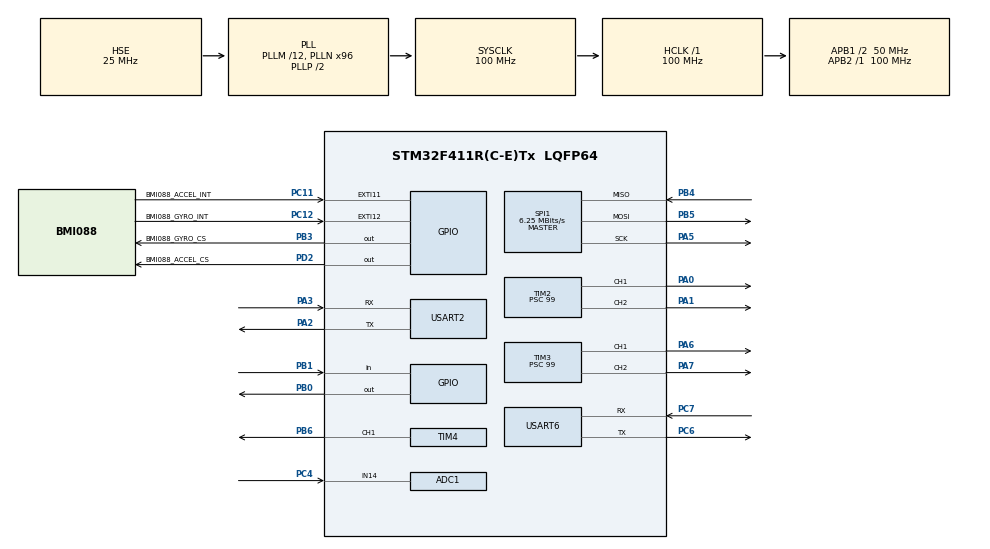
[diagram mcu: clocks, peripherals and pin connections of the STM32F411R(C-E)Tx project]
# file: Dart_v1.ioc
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ADC1.Channel-0\#ChannelRegularConversion=ADC_CHANNEL_14
ADC1.ClockPrescaler=ADC_CLOCK_SYNC_PCLK_DIV8
ADC1.NbrOfConversionFlag=1
ADC1.Rank-0\#ChannelRegularConversion=1
ADC1.SamplingTime-0\#ChannelRegularConversion=ADC_SAMPLETIME_480CYCLES
ADC1.master=1
Mcu.Family=STM32F4
Mcu.Name=STM32F411R(C-E)Tx
Mcu.Package=LQFP64
NVIC.EXTI15_10_IRQn=true\:0\:0\:false\:false\:true\:true\:true\:true
NVIC.PriorityGroup=NVIC_PRIORITYGROUP_4
NVIC.USART2_IRQn=true\:2\:0\:true\:false\:true\:true\:true\:true
NVIC.USART6_IRQn=true\:0\:0\:false\:false\:true\:true\:true\:true
PA0-WKUP.Signal=S_TIM2_CH1_ETR
PA1.Signal=S_TIM2_CH2
PA13.Mode=Serial_Wire
PA13.Signal=SYS_JTMS-SWDIO
PA14.Mode=Serial_Wire
PA14.Signal=SYS_JTCK-SWCLK
PA2.Mode=Asynchronous
PA2.Signal=USART2_TX
PA3.Mode=Asynchronous
PA3.Signal=USART2_RX
PA5.Mode=Full_Duplex_Master
PA5.Signal=SPI1_SCK
PA6.Signal=S_TIM3_CH1
PA7.Signal=S_TIM3_CH2
PB0.Signal=GPIO_Output
PB1.Signal=GPIO_Input
PB3.GPIO_Label=BMI088_GYRO_CS
PB3.GPIO_Speed=GPIO_SPEED_FREQ_VERY_HIGH
PB3.PinState=GPIO_PIN_SET
PB3.Signal=GPIO_Output
PB4.Mode=Full_Duplex_Master
PB4.Signal=SPI1_MISO
PB5.Mode=Full_Duplex_Master
PB5.Signal=SPI1_MOSI
PB6.Signal=S_TIM4_CH1
PC11.GPIO_Label=BMI088_ACCEL_INT
PC11.Signal=GPXTI11
PC12.GPIO_Label=BMI088_GYRO_INT
PC12.Signal=GPXTI12
PC4.Signal=ADCx_IN14
PC6.Mode=Asynchronous
PC6.Signal=USART6_TX
PC7.Mode=Asynchronous
PC7.Signal=USART6_RX
PD2.GPIO_Label=BMI088_ACCEL_CS
PD2.GPIO_Speed=GPIO_SPEED_FREQ_VERY_HIGH
PD2.PinState=GPIO_PIN_SET
PD2.Signal=GPIO_Output
PH0\ -\ OSC_IN.Mode=HSE-External-Oscillator
PH0\ -\ OSC_IN.Signal=RCC_OSC_IN
PH1\ -\ OSC_OUT.Mode=HSE-External-Oscillator
PH1\ -\ OSC_OUT.Signal=RCC_OSC_OUT
ProjectManager.HeapSize=0x200
ProjectManager.StackSize=0x400
ProjectManager.TargetToolchain=MDK-ARM V5.32
RCC.48MHZClocksFreq_Value=50000000
RCC.AHBFreq_Value=100000000
RCC.APB1CLKDivider=RCC_HCLK_DIV2
RCC.APB1Freq_Value=50000000
RCC.APB1TimFreq_Value=100000000
RCC.APB2Freq_Value=100000000
RCC.APB2TimFreq_Value=100000000
RCC.CortexFreq_Value=100000000
RCC.HCLKFreq_Value=100000000
RCC.HSE_VALUE=25000000
RCC.HSI_VALUE=16000000
RCC.LSE_VALUE=32768
RCC.PLLM=12
RCC.PLLN=96
RCC.PLLSourceVirtual=RCC_PLLSOURCE_HSE
RCC.SYSCLKFreq_VALUE=100000000
RCC.SYSCLKSource=RCC_SYSCLKSOURCE_PLLCLK
RCC.VCOOutputFreq_Value=200000000
SH.ADCx_IN14.0=ADC1_IN14,IN14
SH.S_TIM2_CH1_ETR.0=TIM2_CH1,PWM Generation1 CH1
SH.S_TIM2_CH2.0=TIM2_CH2,PWM Generation2 CH2
SH.S_TIM3_CH1.0=TIM3_CH1,PWM Generation1 CH1
SH.S_TIM3_CH2.0=TIM3_CH2,PWM Generation2 CH2
SH.S_TIM4_CH1.0=TIM4_CH1,PWM Generation1 CH1
SPI1.BaudRatePrescaler=SPI_BAUDRATEPRESCALER_16
SPI1.CLKPhase=SPI_PHASE_2EDGE
SPI1.CLKPolarity=SPI_POLARITY_HIGH
SPI1.CalculateBaudRate=6.25 MBits/s
SPI1.Direction=SPI_DIRECTION_2LINES
SPI1.Mode=SPI_MODE_MASTER
SPI1.VirtualType=VM_MASTER
TIM2.Channel-PWM\ Generation1\ CH1=TIM_CHANNEL_1
TIM2.Channel-PWM\ Generation2\ CH2=TIM_CHANNEL_2
TIM2.Period=19999
TIM2.Prescaler=99
TIM3.Channel-PWM\ Generation1\ CH1=TIM_CHANNEL_1
TIM3.Channel-PWM\ Generation2\ CH2=TIM_CHANNEL_2
TIM3.Period=19999
TIM3.Prescaler=99
TIM4.Channel-PWM\ Generation1\ CH1=TIM_CHANNEL_1
TIM4.Period=249
TIM4.Prescaler=99
TIM4.Pulse-PWM\ Generation1\ CH1=125
USART2.VirtualMode=VM_ASYNC
USART6.VirtualMode=VM_ASYNC
VP_TIM2_VS_ClockSourceINT.Mode=Internal
VP_TIM3_VS_ClockSourceINT.Mode=Internal
VP_TIM4_VS_ClockSourceINT.Mode=Internal
board=custom

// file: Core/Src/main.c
/* USER CODE BEGIN Header */
/**
  ******************************************************************************
  * @file           : main.c
  * @brief          : Main program body
  ******************************************************************************
  * @attention
  *
  * Copyright (c) 2026 STMicroelectronics.
  * All rights reserved.
  *
  * This software is licensed under terms that can be found in the LICENSE file
  * in the root directory of this software component.
  * If no LICENSE file comes with this software, it is provided AS-IS.
  *
  ******************************************************************************
  */
/* USER CODE END Header */
#include "main.h"
#include "adc.h"
#include "spi.h"
#include "tim.h"
#include "usart.h"
#include "gpio.h"

/* USER CODE BEGIN Includes */
#include "imu_task.h"
#include "openmv_task.h"
#include <stdio.h>
#include <string.h>
/* USER CODE END Includes */

/* USER CODE BEGIN PTD */
typedef enum
{
  POWER_WAIT_START_RELEASE,
  POWER_WAIT_PRESS,
  POWER_TIMING_HOLD,
  POWER_WAIT_RELEASE,
  POWER_TIMING_RELEASE
} PowerButtonState;
typedef enum
{
  FLIGHT_IDLE, FLIGHT_WAIT_LAUNCH, FLIGHT_ASCENDING, FLIGHT_LANDING,
  FLIGHT_IMU_ERROR
} FlightState;
/* USER CODE END PTD */

/* USER CODE BEGIN PD */
#define RXBUFFERSIZE 32U
/* Existing endpoint commands used these values; verify actual servo and linkage
   before energizing. Never widen this envelope without hardware validation. */
#define SERVO_MIN_PULSE_US 1000U
#define SERVO_MAX_PULSE_US 2000U
#define SERVO_DEFAULT_PULSE_US 1620U
#define SERVO_1_TAKEOFF_PULSE_US 1620U
#define SERVO_2_TAKEOFF_PULSE_US 1620U
#define SERVO_3_TAKEOFF_PULSE_US 1620U
#define SERVO_4_TAKEOFF_PULSE_US 1620U
#define SERVO_1_LANDING_PULSE_US 1620U
#define SERVO_2_LANDING_PULSE_US 1620U
#define SERVO_3_LANDING_PULSE_US 1620U
#define SERVO_4_LANDING_PULSE_US 1620U
#define SERVO_PWM_PERIOD_US 20000U
#define FLIGHT_AUTO_ARM_MS 10000U
#define ARM_BEEP_LENGTH_MS 150U
#define ARM_BEEP_INTERVAL_MS 300U
#define ARM_BEEP_TOTAL_MS (ARM_BEEP_INTERVAL_MS + ARM_BEEP_LENGTH_MS)
#if (SERVO_DEFAULT_PULSE_US < SERVO_MIN_PULSE_US) || (SERVO_DEFAULT_PULSE_US > SERVO_MAX_PULSE_US) || \
    (SERVO_1_TAKEOFF_PULSE_US < SERVO_MIN_PULSE_US) || (SERVO_1_TAKEOFF_PULSE_US > SERVO_MAX_PULSE_US) || \
    (SERVO_2_TAKEOFF_PULSE_US < SERVO_MIN_PULSE_US) || (SERVO_2_TAKEOFF_PULSE_US > SERVO_MAX_PULSE_US) || \
    (SERVO_3_TAKEOFF_PULSE_US < SERVO_MIN_PULSE_US) || (SERVO_3_TAKEOFF_PULSE_US > SERVO_MAX_PULSE_US) || \
    (SERVO_4_TAKEOFF_PULSE_US < SERVO_MIN_PULSE_US) || (SERVO_4_TAKEOFF_PULSE_US > SERVO_MAX_PULSE_US) || \
    (SERVO_1_LANDING_PULSE_US < SERVO_MIN_PULSE_US) || (SERVO_1_LANDING_PULSE_US > SERVO_MAX_PULSE_US) || \
    (SERVO_2_LANDING_PULSE_US < SERVO_MIN_PULSE_US) || (SERVO_2_LANDING_PULSE_US > SERVO_MAX_PULSE_US) || \
    (SERVO_3_LANDING_PULSE_US < SERVO_MIN_PULSE_US) || (SERVO_3_LANDING_PULSE_US > SERVO_MAX_PULSE_US) || \
    (SERVO_4_LANDING_PULSE_US < SERVO_MIN_PULSE_US) || (SERVO_4_LANDING_PULSE_US > SERVO_MAX_PULSE_US)
#error "Servo preset pulse is outside the configured envelope"
#endif
/* Launch gate: tune acceleration magnitude and continuous time separately. */
#define FLIGHT_LAUNCH_ACCEL_MPS2 13.0f
#define FLIGHT_LAUNCH_CONFIRM_MS 6U
/* Consecutive positive roll updates required after a negative-to-positive crossing. */
#define FLIGHT_ROLL_POSITIVE_SAMPLES 5U
#define FLIGHT_BEEP_MS 3000U
#define FLIGHT_LANDING_HOLD_MS 5000U
#define BATTERY_ADC_SAMPLE_COUNT 4U
#define BATTERY_ADC_FULL_SCALE 4095U
#define BATTERY_ADC_REFERENCE_MV 3300U
#define BATTERY_DIVIDER_RATIO 4U
#define BUZZER_LOW_PULSE 10U
#define BUZZER_MEDIUM_PULSE 20U
#define BUZZER_HIGH_PULSE 40U
#define POWER_OFF_HOLD_MS 1000U
#define POWER_OFF_RELEASE_MS 1000U
#define POWER_RELEASE_BEEP_MS 100U
#define EFFECT_BEEP_LENGTH_MS 180U
#define EFFECT_BEEP_INTERVAL_MS 300U
#define EFFECT_LENGTH_MS ((2U * EFFECT_BEEP_INTERVAL_MS) + EFFECT_BEEP_LENGTH_MS)
#define UART_TX_BUFFER_SIZE 256U
#define IMU_DEBUG_PERIOD_MS 200U
/* USER CODE END PD */

/* USER CODE BEGIN PV */
static char RxBuffer[RXBUFFERSIZE];
static char command_buffer[RXBUFFERSIZE];
static uint8_t aRxBuffer;
static uint8_t Uart2_Rx_Cnt;
static volatile uint8_t command_ready;
static volatile uint8_t rx_discard;
static uint32_t takeoff_pulse[4] = { SERVO_1_TAKEOFF_PULSE_US, SERVO_2_TAKEOFF_PULSE_US,
                                     SERVO_3_TAKEOFF_PULSE_US, SERVO_4_TAKEOFF_PULSE_US };
static uint32_t landing_pulse[4] = { SERVO_1_LANDING_PULSE_US, SERVO_2_LANDING_PULSE_US,
                                     SERVO_3_LANDING_PULSE_US, SERVO_4_LANDING_PULSE_US };
static FlightState flight_state;
static uint32_t launch_tick;
static uint32_t launch_candidate_tick;
static uint32_t apex_tick;
static uint32_t flight_last_update;
static uint8_t launch_candidate;
static uint8_t roll_was_negative;
static uint8_t roll_positive_count;
static uint8_t apex_event;
static uint8_t servo_output_active = 1U;
static uint8_t battery_report_pending;
static PowerButtonState power_button_state;
static uint32_t power_button_tick;
static uint32_t power_beep_tick;
static uint32_t startup_effect_tick;
static uint8_t startup_effect_active;
static uint32_t boot_tick;
static uint32_t arm_beep_tick;
static uint8_t arm_beep_active;
static uint8_t uart_tx_buffer[UART_TX_BUFFER_SIZE];
static volatile uint8_t uart_tx_busy;
static volatile uint8_t uart_overflow_pending;
static uint32_t uart_tx_drop_count;
static uint32_t imu_debug_tick;
static uint32_t openmv_reported_target_count;
static OpenMV_State openmv_reported_state;
static OpenMV_Error openmv_reported_error;
static const uint8_t uart_reply[] = "ok\r\n";
static const uint8_t uart_error[] = "error\r\n";
/* USER CODE END PV */

void SystemClock_Config(void);
/* USER CODE BEGIN PFP */
static void SetServoPulse(uint8_t index, uint32_t pulse);
static uint8_t ReadBatteryVoltage(uint32_t *voltage_mv);
static void BatteryReportTask(void);
static void HandleFlightCommand(void);
static void FlightTask(uint32_t now);
static uint8_t ArmFlight(uint32_t now);
static void AutoArmTask(uint32_t now);
static uint32_t GetThreeBeepPulse(uint32_t elapsed, uint8_t increasing);
static void UpdateBuzzer(uint32_t now);
static void HandlePowerButton(void);
static uint8_t QueueUartData(const uint8_t *data, uint16_t length);
static void IMUDebugOutputTask(uint32_t now);
static void OpenMVDebugOutputTask(void);
/* USER CODE END PFP */

/* USER CODE BEGIN 0 */
static void SetServoPulse(uint8_t index, uint32_t pulse)
{
  switch (index)
  {
    case 0U: __HAL_TIM_SET_COMPARE(&htim2, TIM_CHANNEL_1, pulse); break;
    case 1U: __HAL_TIM_SET_COMPARE(&htim2, TIM_CHANNEL_2, pulse); break;
    case 2U: __HAL_TIM_SET_COMPARE(&htim3, TIM_CHANNEL_1, pulse); break;
    case 3U: __HAL_TIM_SET_COMPARE(&htim3, TIM_CHANNEL_2, pulse); break;
    default: break;
  }
}

static uint8_t ReadBatteryVoltage(uint32_t *voltage_mv)
{
  uint32_t sum = 0U;
  uint32_t i;

  if (voltage_mv == NULL) return 0U;
  for (i = 0U; i < BATTERY_ADC_SAMPLE_COUNT; i++)
  {
    if (HAL_ADC_Start(&hadc1) != HAL_OK)
    {
      (void)HAL_ADC_Stop(&hadc1);
      return 0U;
    }
    if (HAL_ADC_PollForConversion(&hadc1, 1U) != HAL_OK)
    {
      (void)HAL_ADC_Stop(&hadc1);
      return 0U;
    }
    sum += HAL_ADC_GetValue(&hadc1);
    if (HAL_ADC_Stop(&hadc1) != HAL_OK) return 0U;
  }
  *voltage_mv = (((sum / BATTERY_ADC_SAMPLE_COUNT) *
                  BATTERY_ADC_REFERENCE_MV * BATTERY_DIVIDER_RATIO) +
                 (BATTERY_ADC_FULL_SCALE / 2U)) / BATTERY_ADC_FULL_SCALE;
  return 1U;
}

static void BatteryReportTask(void)
{
  char message[UART_TX_BUFFER_SIZE];
  uint32_t voltage_mv;
  int length;

  if ((battery_report_pending == 0U) || (uart_tx_busy != 0U)) return;
  if (ReadBatteryVoltage(&voltage_mv) != 0U)
  {
    length = snprintf(message, sizeof(message), "Battery:%lu.%02luV\r\n",
                      (unsigned long)(voltage_mv / 1000U),
                      (unsigned long)((voltage_mv % 1000U) / 10U));
  }
  else length = snprintf(message, sizeof(message), "Battery ADC error\r\n");
  if ((length > 0) && ((uint32_t)length < sizeof(message)) &&
      (QueueUartData((const uint8_t *)message, (uint16_t)length) != 0U))
    battery_report_pending = 0U;
}

static uint32_t GetThreeBeepPulse(uint32_t elapsed, uint8_t increasing)
{
  static const uint32_t increasing_pulses[3] =
  {
    BUZZER_LOW_PULSE, BUZZER_MEDIUM_PULSE, BUZZER_HIGH_PULSE
  };
  static const uint32_t decreasing_pulses[3] =
  {
    BUZZER_HIGH_PULSE, BUZZER_MEDIUM_PULSE, BUZZER_LOW_PULSE
  };
  uint32_t beep_index = elapsed / EFFECT_BEEP_INTERVAL_MS;

  if ((beep_index >= 3U) ||
      ((elapsed % EFFECT_BEEP_INTERVAL_MS) >= EFFECT_BEEP_LENGTH_MS))
  {
    return 0U;
  }

  return increasing ? increasing_pulses[beep_index]
                    : decreasing_pulses[beep_index];
}

static void UpdateBuzzer(uint32_t now)
{
  uint32_t pulse;

  if ((apex_event != 0U) && ((uint32_t)(now - apex_tick) < FLIGHT_BEEP_MS))
  {
    pulse = BUZZER_HIGH_PULSE;
  }
  else if (power_button_state == POWER_WAIT_RELEASE)
  {
    pulse = ((uint32_t)(now - power_beep_tick) < POWER_RELEASE_BEEP_MS)
              ? BUZZER_HIGH_PULSE : 0U;
  }
  else if (power_button_state == POWER_TIMING_RELEASE)
  {
    pulse = GetThreeBeepPulse((uint32_t)(now - power_button_tick), 0U);
  }
  else if (arm_beep_active != 0U)
  {
    uint32_t elapsed = (uint32_t)(now - arm_beep_tick);
    if (elapsed < ARM_BEEP_TOTAL_MS)
    {
      pulse = ((elapsed < ARM_BEEP_LENGTH_MS) ||
               ((elapsed >= ARM_BEEP_INTERVAL_MS) &&
                (elapsed < ARM_BEEP_TOTAL_MS))) ? BUZZER_HIGH_PULSE : 0U;
    }
    else
    {
      arm_beep_active = 0U;
      pulse = 0U;
    }
  }
  else if (startup_effect_active != 0U)
  {
    uint32_t elapsed = (uint32_t)(now - startup_effect_tick);

    if (elapsed < EFFECT_LENGTH_MS)
    {
      pulse = GetThreeBeepPulse(elapsed, 1U);
    }
    else
    {
      startup_effect_active = 0U;
      pulse = 0U;
    }
  }
  else
  {
    pulse = 0U;
  }

  __HAL_TIM_SET_COMPARE(&htim4, TIM_CHANNEL_1, pulse);
}

static void HandlePowerButton(void)
{
  GPIO_PinState button = HAL_GPIO_ReadPin(GPIOB, GPIO_PIN_1);
  uint32_t now = HAL_GetTick();

  switch (power_button_state)
  {
    case POWER_WAIT_START_RELEASE:
      if (button == GPIO_PIN_RESET)
      {
        power_button_state = POWER_WAIT_PRESS;
      }
      break;

    case POWER_WAIT_PRESS:
      if (button == GPIO_PIN_SET)
      {
        power_button_tick = now;
        power_button_state = POWER_TIMING_HOLD;
      }
      break;

    case POWER_TIMING_HOLD:
      if (button == GPIO_PIN_RESET)
      {
        power_button_state = POWER_WAIT_PRESS;
      }
      else if ((uint32_t)(now - power_button_tick) >= POWER_OFF_HOLD_MS)
      {
        power_beep_tick = now;
        power_button_state = POWER_WAIT_RELEASE;
      }
      break;

    case POWER_WAIT_RELEASE:
      if (button == GPIO_PIN_RESET)
      {
        power_button_tick = now;
        power_button_state = POWER_TIMING_RELEASE;
      }
      break;

    case POWER_TIMING_RELEASE:
      if (button == GPIO_PIN_SET)
      {
        power_button_state = POWER_WAIT_RELEASE;
      }
      else if ((uint32_t)(now - power_button_tick) >= POWER_OFF_RELEASE_MS)
      {
        __HAL_TIM_SET_COMPARE(&htim4, TIM_CHANNEL_1, 0U);
        HAL_GPIO_WritePin(GPIOB, GPIO_PIN_0, GPIO_PIN_SET);
        while (1)
        {
          /* Keep the power-off request asserted until the supply is removed. */
        }
      }
      break;

    default:
      power_button_state = POWER_WAIT_START_RELEASE;
      break;
  }
}

static uint8_t QueueUartData(const uint8_t *data, uint16_t length)
{
  HAL_StatusTypeDef result;

  if ((data == NULL) || (length == 0U) || (length > UART_TX_BUFFER_SIZE))
  {
    return 0U;
  }

  __disable_irq();
  if (uart_tx_busy != 0U)
  {
    __enable_irq();
    uart_tx_drop_count++;
    return 0U;
  }
  memcpy(uart_tx_buffer, data, length);
  uart_tx_busy = 1U;
  result = HAL_UART_Transmit_IT(&huart2, uart_tx_buffer, length);
  if (result != HAL_OK)
  {
    uart_tx_busy = 0U;
  }
  __enable_irq();
  return (result == HAL_OK) ? 1U : 0U;
}

static uint8_t ArmFlight(uint32_t now)
{
  const IMU_Status *status = IMU_GetStatus();
  uint8_t i;

  if ((flight_state == FLIGHT_ASCENDING) ||
      (status->state != IMU_STATE_RUNNING) ||
      ((apex_event != 0U) &&
       ((uint32_t)(now - apex_tick) < FLIGHT_LANDING_HOLD_MS))) return 0U;

  for (i = 0U; i < 4U; i++) SetServoPulse(i, takeoff_pulse[i]);
  servo_output_active = 1U;
  flight_state = FLIGHT_WAIT_LAUNCH;
  launch_candidate = 0U;
  roll_was_negative = 0U;
  roll_positive_count = 0U;
  apex_event = 0U;
  flight_last_update = status->attitude_update_count;
  return 1U;
}

static void AutoArmTask(uint32_t now)
{
  if ((flight_state != FLIGHT_IDLE) ||
      ((uint32_t)(now - boot_tick) < FLIGHT_AUTO_ARM_MS) ||
      (IMU_GetStatus()->state != IMU_STATE_RUNNING)) return;

  if (ArmFlight(now) != 0U)
  {
    startup_effect_active = 0U;
    arm_beep_tick = now;
    arm_beep_active = 1U;
  }
}

static void HandleFlightCommand(void)
{
  char line[RXBUFFERSIZE];
  uint8_t length;
  uint8_t number;
  uint8_t index;
  uint32_t pulse = 0U;
  uint8_t valid = 1U;
  uint8_t i;
  uint8_t digits = 0U;

  if (command_ready == 0U)
  {
    return;
  }
  __disable_irq();
  length = command_ready;
  memcpy(line, command_buffer, length);
  command_ready = 0U;
  __enable_irq();
  line[length] = '\0';
  if ((length == 1U) && (line[0] == '0'))
  {
    battery_report_pending = 1U;
    return;
  }
  if ((length == 1U) && (line[0] == '5'))
  {
    valid = ArmFlight(HAL_GetTick());
  }
  else if ((length >= 6U) && (line[0] >= '1') && (line[0] <= '9') &&
           (line[1] == ' '))
  {
    number = (uint8_t)(line[0] - '0');
    valid = ((number >= 1U && number <= 4U) ||
             (number >= 6U && number <= 9U)) ? 1U : 0U;
    for (i = 2U; i < length; i++)
    {
      if ((line[i] < '0') || (line[i] > '9') || (pulse > SERVO_PWM_PERIOD_US))
      {
        valid = 0U;
        break;
      }
      pulse = pulse * 10U + (uint32_t)(line[i] - '0');
      digits++;
    }
    if ((digits == 0U) ||
        (pulse < SERVO_MIN_PULSE_US) || (pulse > SERVO_MAX_PULSE_US) ||
        (pulse >= SERVO_PWM_PERIOD_US)) valid = 0U;
    if (valid != 0U)
    {
      index = (number <= 4U) ? (uint8_t)(number - 1U) : (uint8_t)(number - 6U);
      if (number <= 4U)
      {
        /* Landing is latched: never silently override its output. */
        if ((flight_state == FLIGHT_LANDING) ||
            (flight_state == FLIGHT_ASCENDING)) valid = 0U;
        else
        {
          takeoff_pulse[index] = pulse;
          SetServoPulse(index, pulse);
          servo_output_active = 1U;
        }
      }
      else if ((flight_state == FLIGHT_WAIT_LAUNCH) ||
               (flight_state == FLIGHT_ASCENDING)) valid = 0U;
      else
      {
        landing_pulse[index] = pulse;
      }
    }
  }
  else valid = 0U;
  (void)QueueUartData(valid ? uart_reply : uart_error,
                      valid ? (sizeof(uart_reply) - 1U) : (sizeof(uart_error) - 1U));
}

static void FlightTask(uint32_t now)
{
  const IMU_Status *imu = IMU_GetStatus();
  uint8_t i;
  if ((flight_state == FLIGHT_LANDING) && (servo_output_active != 0U) &&
      ((uint32_t)(now - apex_tick) >= FLIGHT_LANDING_HOLD_MS))
  {
    for (i = 0U; i < 4U; i++) SetServoPulse(i, 0U);
    servo_output_active = 0U;
  }
  if ((flight_state == FLIGHT_WAIT_LAUNCH) || (flight_state == FLIGHT_ASCENDING))
  {
    if (imu->state != IMU_STATE_RUNNING)
    {
      flight_state = FLIGHT_IMU_ERROR;
      return;
    }
    if (imu->attitude_update_count == flight_last_update) return;
    flight_last_update = imu->attitude_update_count;
    if (flight_state == FLIGHT_WAIT_LAUNCH)
    {
      if (imu->accel_norm_mps2 >= FLIGHT_LAUNCH_ACCEL_MPS2)
      {
        if (launch_candidate == 0U)
        {
          launch_candidate_tick = now;
          launch_candidate = 1U;
        }
        else if ((uint32_t)(now - launch_candidate_tick) >= FLIGHT_LAUNCH_CONFIRM_MS)
        {
          launch_tick = now;
          launch_candidate = 0U;
          roll_was_negative = 0U;
          roll_positive_count = 0U;
          flight_state = FLIGHT_ASCENDING;
        }
      }
      else launch_candidate = 0U;
    }
    else
    {
      /* Only post-launch attitude updates count. Zero breaks a positive run;
         a later negative sample allows another crossing attempt. */
      if (imu->roll_deg < 0.0f)
      {
        roll_was_negative = 1U;
        roll_positive_count = 0U;
      }
      else if (imu->roll_deg > 0.0f)
      {
        if (roll_was_negative != 0U)
        {
          roll_positive_count++;
          if (roll_positive_count >= FLIGHT_ROLL_POSITIVE_SAMPLES)
          {
            flight_state = FLIGHT_LANDING;
            apex_event = 1U;
            apex_tick = now;
            for (i = 0U; i < 4U; i++) SetServoPulse(i, landing_pulse[i]);
            __HAL_TIM_SET_COMPARE(&htim4, TIM_CHANNEL_1, BUZZER_HIGH_PULSE);
          }
        }
      }
      else
      {
        roll_was_negative = 0U;
        roll_positive_count = 0U;
      }
    }
  }
}

static void IMUDebugOutputTask(uint32_t now)
{
  const IMU_Status *status;
  char message[UART_TX_BUFFER_SIZE];
  int length;
  int32_t roll;
  int32_t pitch;
  int32_t yaw;

  if ((uint32_t)(now - imu_debug_tick) < IMU_DEBUG_PERIOD_MS)
  {
    return;
  }
  imu_debug_tick = now;
  status = IMU_GetStatus();
  roll = (int32_t)(status->roll_deg * 10.0f);
  pitch = (int32_t)(status->pitch_deg * 10.0f);
  yaw = (int32_t)(status->yaw_deg * 10.0f);
  /* R/P/Y remain in tenths of a degree for existing parsers; X/Y/Z are
     the same Euler angles (roll/pitch/yaw) formatted in degrees. */
  length = snprintf(message, sizeof(message),
                     "ms:%lu F:%u I:%u e:%u R:%ld P:%ld Y:%ld Xdeg:%s%ld.%01ld Ydeg:%s%ld.%01ld Zdeg:%s%ld.%01ld A:%lu G:%lu C:%u T:%lu V:%u B:%u S:%u U:%lu O:%lu E:%lu\r\n",
                     (unsigned long)now, (unsigned int)flight_state, (unsigned int)status->state,
                     (unsigned int)status->error, (long)roll, (long)pitch, (long)yaw,
                     (roll < 0) ? "-" : "", (long)((roll < 0) ? -roll : roll) / 10L,
                     (long)((roll < 0) ? -roll : roll) % 10L,
                     (pitch < 0) ? "-" : "", (long)((pitch < 0) ? -pitch : pitch) / 10L,
                     (long)((pitch < 0) ? -pitch : pitch) % 10L,
                     (yaw < 0) ? "-" : "", (long)((yaw < 0) ? -yaw : yaw) / 10L,
                     (long)((yaw < 0) ? -yaw : yaw) % 10L,
                     (unsigned long)(status->accel_norm_mps2 * 100.0f),
                     (unsigned long)(status->gyro_norm_rps * 100.0f),
                     (unsigned int)launch_candidate,
                     (unsigned long)((flight_state == FLIGHT_ASCENDING) ? (now - launch_tick) : 0U),
                     (unsigned int)apex_event,
                     (unsigned int)(apex_event && ((uint32_t)(now - apex_tick) < FLIGHT_BEEP_MS)),
                     (unsigned int)servo_output_active,
                     (unsigned long)status->attitude_update_count,
                     (unsigned long)status->gyro_overrun_count,
                     (unsigned long)status->spi_error_count);
  if ((length > 0) && ((uint32_t)length < sizeof(message)))
  {
    (void)QueueUartData((const uint8_t *)message, (uint16_t)length);
  }
}

static void OpenMVDebugOutputTask(void)
{
  const OpenMV_Status *status = OpenMV_GetStatus();
  char message[UART_TX_BUFFER_SIZE];
  int length = 0;

  if (status->target_count != openmv_reported_target_count)
  {
    length = snprintf(message, sizeof(message),
                      "OpenMV x:%u y:%u w:%u h:%u cx:%u cy:%u\r\n",
                      (unsigned int)status->target.x,
                      (unsigned int)status->target.y,
                      (unsigned int)status->target.width,
                      (unsigned int)status->target.height,
                      (unsigned int)status->target.center_x,
                      (unsigned int)status->target.center_y);
    if ((length > 0) &&
        (QueueUartData((const uint8_t *)message, (uint16_t)length) != 0U))
    {
      openmv_reported_target_count = status->target_count;
    }
  }
  else if ((status->state == OPENMV_STATE_ERROR) &&
           ((status->state != openmv_reported_state) ||
            (status->error != openmv_reported_error)))
  {
    length = snprintf(message, sizeof(message), "OpenMV error:%u\r\n",
                      (unsigned int)status->error);
    if ((length > 0) &&
        (QueueUartData((const uint8_t *)message, (uint16_t)length) != 0U))
    {
      openmv_reported_state = status->state;
      openmv_reported_error = status->error;
    }
  }
}
/* USER CODE END 0 */

int main(void)
{

  /* MCU Configuration--------------------------------------------------------*/

  /* Reset of all peripherals, Initializes the Flash interface and the Systick. */
  HAL_Init();

  /* Configure the system clock */
  SystemClock_Config();

  /* Initialize all configured peripherals */
  MX_GPIO_Init();
  MX_USART2_UART_Init();
  MX_TIM2_Init();
  MX_TIM3_Init();
  MX_TIM4_Init();
  MX_SPI1_Init();
  MX_USART6_UART_Init();
  MX_ADC1_Init();
  /* USER CODE BEGIN 2 */
  if ((HAL_TIM_PWM_Start(&htim2, TIM_CHANNEL_1) != HAL_OK) ||
      (HAL_TIM_PWM_Start(&htim2, TIM_CHANNEL_2) != HAL_OK) ||
      (HAL_TIM_PWM_Start(&htim3, TIM_CHANNEL_1) != HAL_OK) ||
      (HAL_TIM_PWM_Start(&htim3, TIM_CHANNEL_2) != HAL_OK))
  {
    Error_Handler();
  }
  {
    uint8_t i;
    for (i = 0U; i < 4U; i++) SetServoPulse(i, SERVO_DEFAULT_PULSE_US);
  }
  __HAL_TIM_SET_COMPARE(&htim4, TIM_CHANNEL_1, 0U);
  if (HAL_TIM_PWM_Start(&htim4, TIM_CHANNEL_1) != HAL_OK)
  {
    Error_Handler();
  }
  boot_tick = HAL_GetTick();
  startup_effect_tick = boot_tick;
  startup_effect_active = 1U;
  if (HAL_UART_Receive_IT(&huart2, &aRxBuffer, 1) != HAL_OK)
  {
    Error_Handler();
  }
  IMU_Init(&hspi1);
  imu_debug_tick = HAL_GetTick();
  OpenMV_Init(&huart6);
  /* USER CODE END 2 */

  /* Infinite loop */
  while (1)
  {

    /* USER CODE BEGIN 3 */
    uint32_t now = HAL_GetTick();
    IMU_Task();
    HandleFlightCommand();
    AutoArmTask(now);
    FlightTask(now);
    BatteryReportTask();
    OpenMV_Task();
    HandlePowerButton();
    UpdateBuzzer(now);
    if (uart_overflow_pending != 0U)
    {
      static const uint8_t overflow_message[] = "UART RX overflow\r\n";
      if (QueueUartData(overflow_message, sizeof(overflow_message) - 1U))
        uart_overflow_pending = 0U;
    }
    IMUDebugOutputTask(now);
    OpenMVDebugOutputTask();
  }
  /* USER CODE END 3 */
}

void SystemClock_Config(void)
{
  RCC_OscInitTypeDef RCC_OscInitStruct = {0};
  RCC_ClkInitTypeDef RCC_ClkInitStruct = {0};

  /** Configure the main internal regulator output voltage
  */
  __HAL_RCC_PWR_CLK_ENABLE();
  __HAL_PWR_VOLTAGESCALING_CONFIG(PWR_REGULATOR_VOLTAGE_SCALE1);

  /** Initializes the RCC Oscillators according to the specified parameters
  * in the RCC_OscInitTypeDef structure.
  */
  RCC_OscInitStruct.OscillatorType = RCC_OSCILLATORTYPE_HSE;
  RCC_OscInitStruct.HSEState = RCC_HSE_ON;
  RCC_OscInitStruct.PLL.PLLState = RCC_PLL_ON;
  RCC_OscInitStruct.PLL.PLLSource = RCC_PLLSOURCE_HSE;
  RCC_OscInitStruct.PLL.PLLM = 12;
  RCC_OscInitStruct.PLL.PLLN = 96;
  RCC_OscInitStruct.PLL.PLLP = RCC_PLLP_DIV2;
  RCC_OscInitStruct.PLL.PLLQ = 4;
  if (HAL_RCC_OscConfig(&RCC_OscInitStruct) != HAL_OK)
  {
    Error_Handler();
  }

  /** Initializes the CPU, AHB and APB buses clocks
  */
  RCC_ClkInitStruct.ClockType = RCC_CLOCKTYPE_HCLK|RCC_CLOCKTYPE_SYSCLK
                              |RCC_CLOCKTYPE_PCLK1|RCC_CLOCKTYPE_PCLK2;
  RCC_ClkInitStruct.SYSCLKSource = RCC_SYSCLKSOURCE_PLLCLK;
  RCC_ClkInitStruct.AHBCLKDivider = RCC_SYSCLK_DIV1;
  RCC_ClkInitStruct.APB1CLKDivider = RCC_HCLK_DIV2;
  RCC_ClkInitStruct.APB2CLKDivider = RCC_HCLK_DIV1;

  if (HAL_RCC_ClockConfig(&RCC_ClkInitStruct, FLASH_LATENCY_3) != HAL_OK)
  {
    Error_Handler();
  }
}

/* USER CODE BEGIN 4 */
void HAL_UART_RxCpltCallback(UART_HandleTypeDef *huart)
{
  if (huart->Instance == USART6)
  {
    OpenMV_UART_RxCpltCallback();
    return;
  }
  if (huart->Instance != USART2)
  {
    return;
  }

  if (rx_discard != 0U)
  {
    if ((Uart2_Rx_Cnt != 0U) && (RxBuffer[0] == '\r') && (aRxBuffer == '\n'))
    {
      rx_discard = 0U;
      Uart2_Rx_Cnt = 0U;
    }
    else
    {
      RxBuffer[0] = (char)aRxBuffer;
      Uart2_Rx_Cnt = 1U;
    }
  }
  else
  {
    if (Uart2_Rx_Cnt >= (RXBUFFERSIZE - 1U))
    {
      rx_discard = 1U;
      Uart2_Rx_Cnt = 0U;
      uart_overflow_pending = 1U;
    }
    else
    {
      RxBuffer[Uart2_Rx_Cnt++] = (char)aRxBuffer;
      if ((Uart2_Rx_Cnt >= 2U) && (RxBuffer[Uart2_Rx_Cnt - 2U] == '\r') &&
          (RxBuffer[Uart2_Rx_Cnt - 1U] == '\n'))
      {
        if (command_ready == 0U)
        {
          memcpy(command_buffer, RxBuffer, Uart2_Rx_Cnt - 2U);
          command_ready = Uart2_Rx_Cnt - 2U;
          if (command_ready == 0U) uart_overflow_pending = 1U;
        }
        else uart_overflow_pending = 1U;
        Uart2_Rx_Cnt = 0U;
      }
    }
  }

  HAL_UART_Receive_IT(&huart2, &aRxBuffer, 1);
}

void HAL_UART_TxCpltCallback(UART_HandleTypeDef *huart)
{
  if (huart->Instance == USART2)
  {
    uart_tx_busy = 0U;
  }
  else if (huart->Instance == USART6)
  {
    OpenMV_UART_TxCpltCallback();
  }
}

void HAL_GPIO_EXTI_Callback(uint16_t GPIO_Pin)
{
  IMU_OnDataReady(GPIO_Pin);
}

void HAL_UART_ErrorCallback(UART_HandleTypeDef *huart)
{
  if (huart->Instance == USART2)
  {
    uart_tx_busy = 0U;
    Uart2_Rx_Cnt = 0U;
    rx_discard = 1U;
    HAL_UART_Receive_IT(&huart2, &aRxBuffer, 1);
  }
  else if (huart->Instance == USART6)
  {
    OpenMV_UART_ErrorCallback();
  }
}
/* USER CODE END 4 */

void Error_Handler(void)
{
  __disable_irq();
  while (1)
  {
  }
}
